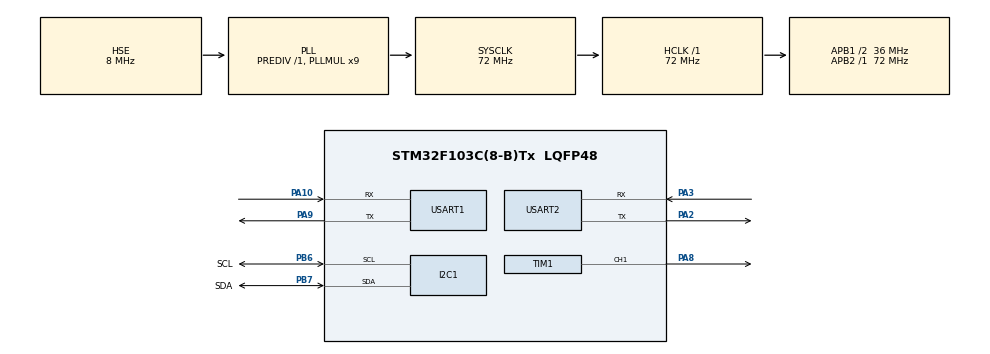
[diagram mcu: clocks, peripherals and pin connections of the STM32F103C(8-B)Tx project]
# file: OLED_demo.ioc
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Mcu.Family=STM32F1
Mcu.Name=STM32F103C(8-B)Tx
Mcu.Package=LQFP48
NVIC.I2C1_ER_IRQn=true\:0\:0\:false\:false\:true\:true\:true\:true
NVIC.I2C1_EV_IRQn=true\:0\:0\:false\:false\:true\:true\:true\:true
NVIC.PriorityGroup=NVIC_PRIORITYGROUP_4
NVIC.TIM1_BRK_IRQn=true\:0\:0\:false\:false\:true\:true\:true\:true
NVIC.TIM1_CC_IRQn=true\:0\:0\:false\:false\:true\:true\:true\:true
NVIC.TIM1_TRG_COM_IRQn=true\:0\:0\:false\:false\:true\:true\:true\:true
NVIC.TIM1_UP_IRQn=true\:0\:0\:false\:false\:true\:true\:true\:true
NVIC.USART1_IRQn=true\:0\:0\:false\:false\:true\:true\:true\:true
NVIC.USART2_IRQn=true\:0\:0\:false\:false\:true\:true\:true\:true
PA10.Mode=Asynchronous
PA10.Signal=USART1_RX
PA13.Mode=Serial_Wire
PA13.Signal=SYS_JTMS-SWDIO
PA14.Mode=Serial_Wire
PA14.Signal=SYS_JTCK-SWCLK
PA2.Mode=Asynchronous
PA2.Signal=USART2_TX
PA3.Mode=Asynchronous
PA3.Signal=USART2_RX
PA8.Signal=S_TIM1_CH1
PA9.Mode=Asynchronous
PA9.Signal=USART1_TX
PB6.GPIO_Label=SCL
PB6.Mode=I2C
PB6.Signal=I2C1_SCL
PB7.GPIO_Label=SDA
PB7.Mode=I2C
PB7.Signal=I2C1_SDA
PD0-OSC_IN.Mode=HSE-External-Oscillator
PD0-OSC_IN.Signal=RCC_OSC_IN
PD1-OSC_OUT.Mode=HSE-External-Oscillator
PD1-OSC_OUT.Signal=RCC_OSC_OUT
ProjectManager.HeapSize=0x200
ProjectManager.StackSize=0x400
ProjectManager.TargetToolchain=Makefile
RCC.AHBFreq_Value=72000000
RCC.APB1CLKDivider=RCC_HCLK_DIV2
RCC.APB1Freq_Value=36000000
RCC.APB1TimFreq_Value=72000000
RCC.APB2Freq_Value=72000000
RCC.APB2TimFreq_Value=72000000
RCC.HCLKFreq_Value=72000000
RCC.PLLMUL=RCC_PLL_MUL9
RCC.PLLSourceVirtual=RCC_PLLSOURCE_HSE
RCC.SYSCLKFreq_VALUE=72000000
RCC.SYSCLKSource=RCC_SYSCLKSOURCE_PLLCLK
RCC.USBFreq_Value=72000000
SH.S_TIM1_CH1.0=TIM1_CH1,PWM Generation1 CH1
TIM1.Channel-PWM\ Generation1\ CH1=TIM_CHANNEL_1
TIM1.Period=10000-1
TIM1.Prescaler=7200-1
USART1.VirtualMode=VM_ASYNC
USART2.VirtualMode=VM_ASYNC
VP_TIM1_VS_ClockSourceINT.Mode=Internal
board=custom

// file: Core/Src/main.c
/* USER CODE BEGIN Header */
/**
  ******************************************************************************
  * @file           : main.c
  * @brief          : Main program body
  ******************************************************************************
  * @attention
  *
  * Copyright (c) 2024 STMicroelectronics.
  * All rights reserved.
  *
  * This software is licensed under terms that can be found in the LICENSE file
  * in the root directory of this software component.
  * If no LICENSE file comes with this software, it is provided AS-IS.
  *
  ******************************************************************************
  */
/* USER CODE END Header */
#include "main.h"
#include "i2c.h"
#include "tim.h"
#include "usart.h"
#include "gpio.h"

/* USER CODE BEGIN Includes */
#include "oled.h"
/* USER CODE END Includes */

/* USER CODE BEGIN PTD */

//记录下开始的月日时分秒（年直接写了2024
uint32_t cnt=0;
uint32_t mins=22;
uint32_t hours=15;
uint32_t months=2;
uint32_t days=7;

/* USER CODE END PTD */

void SystemClock_Config(void);

int main(void)
{

  /* MCU Configuration--------------------------------------------------------*/

  /* Reset of all peripherals, Initializes the Flash interface and the Systick. */
  HAL_Init();

  /* Configure the system clock */
  SystemClock_Config();

  /* Initialize all configured peripherals */
  MX_GPIO_Init();
  MX_I2C1_Init();
  MX_USART1_UART_Init();
  MX_TIM1_Init();
  MX_USART2_UART_Init();
  /* USER CODE BEGIN 2 */

  OLED_Init(); //屏幕初始�?
  OLED_Clear(); //先清�?
  HAL_Delay(200);
  OLED_On();
  HAL_Delay(500);
  OLED_Clear();
  HAL_TIM_Base_Start_IT(&htim1);

  OLED_ShowString(55,4,":",16);
  OLED_ShowChar(85,4,':',16);
  OLED_ShowString(40,1,"/",16);
  OLED_ShowString(70,1,"/",16);

  /* USER CODE END 2 */

  /* Infinite loop */
  while (1)
  {

    /* USER CODE BEGIN 3 */
      OLED_ShowNum(5,1,2024,4,16);
      OLED_ShowNum(50,1,months,2,16);
      OLED_ShowNum(80,1,days,2,16);
      OLED_ShowNum(95,4,cnt,2,16);
      OLED_ShowNum(65,4,mins,2,16);
      OLED_ShowNum(35,4,hours,2,16);
  }
  /* USER CODE END 3 */
}

void SystemClock_Config(void)
{
  RCC_OscInitTypeDef RCC_OscInitStruct = {0};
  RCC_ClkInitTypeDef RCC_ClkInitStruct = {0};

  /** Initializes the RCC Oscillators according to the specified parameters
  * in the RCC_OscInitTypeDef structure.
  */
  RCC_OscInitStruct.OscillatorType = RCC_OSCILLATORTYPE_HSE;
  RCC_OscInitStruct.HSEState = RCC_HSE_ON;
  RCC_OscInitStruct.HSEPredivValue = RCC_HSE_PREDIV_DIV1;
  RCC_OscInitStruct.HSIState = RCC_HSI_ON;
  RCC_OscInitStruct.PLL.PLLState = RCC_PLL_ON;
  RCC_OscInitStruct.PLL.PLLSource = RCC_PLLSOURCE_HSE;
  RCC_OscInitStruct.PLL.PLLMUL = RCC_PLL_MUL9;
  if (HAL_RCC_OscConfig(&RCC_OscInitStruct) != HAL_OK)
  {
    Error_Handler();
  }

  /** Initializes the CPU, AHB and APB buses clocks
  */
  RCC_ClkInitStruct.ClockType = RCC_CLOCKTYPE_HCLK|RCC_CLOCKTYPE_SYSCLK
                              |RCC_CLOCKTYPE_PCLK1|RCC_CLOCKTYPE_PCLK2;
  RCC_ClkInitStruct.SYSCLKSource = RCC_SYSCLKSOURCE_PLLCLK;
  RCC_ClkInitStruct.AHBCLKDivider = RCC_SYSCLK_DIV1;
  RCC_ClkInitStruct.APB1CLKDivider = RCC_HCLK_DIV2;
  RCC_ClkInitStruct.APB2CLKDivider = RCC_HCLK_DIV1;

  if (HAL_RCC_ClockConfig(&RCC_ClkInitStruct, FLASH_LATENCY_2) != HAL_OK)
  {
    Error_Handler();
  }
}

/* USER CODE BEGIN 4 */
void HAL_TIM_PeriodElapsedCallback(TIM_HandleTypeDef *htim)
{
    cnt++;
    if(cnt==60)
    {
        mins++;
        cnt=0;
        if(mins==60)
        {
            hours++;
            mins=0;
            if(hours==24)
            {
                hours=0;
                days++;
                //这里没有考虑月数的增加了（因为懒得）  //宝宝好可爱 2024/4/8 22：44
            }

        }
    }
}

/* USER CODE END 4 */

void Error_Handler(void)
{
  __disable_irq();
  while (1)
  {
  }
}
